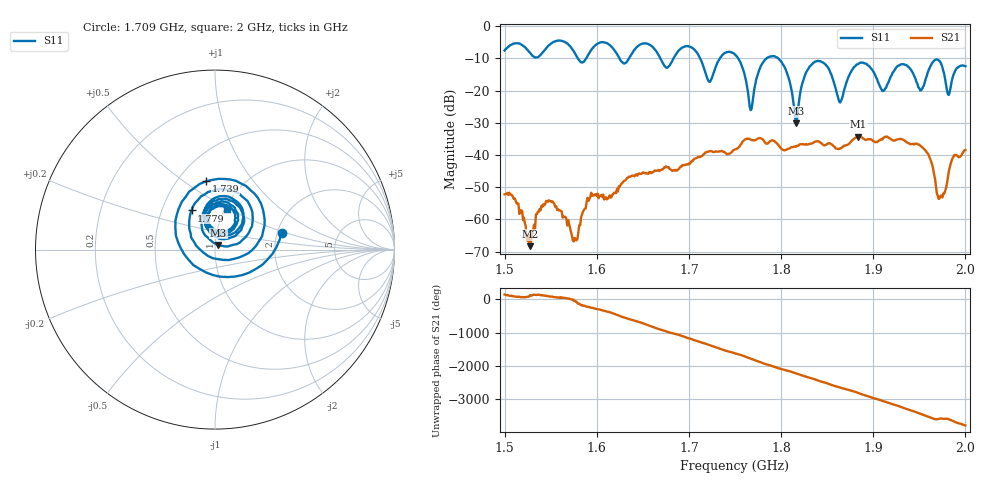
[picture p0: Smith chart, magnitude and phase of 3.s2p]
! NanoVNA-App by SYSJOINT et al v1.1.209 (+OD18)
! Date: 2026-01-21 14:21:20
! Start: 1,5GHz Stop: 2GHz Points: 501
! S-Parameter data: F S11 S21 S12 S22
# Hz S RI R 50
!  Frequency  S11_Real  S11_Imag  S21_Real  S21_Imag  S12_Real  S12_Imag  S22_Real  S22_Imag
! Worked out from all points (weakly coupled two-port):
!   501 points, 1.5 GHz to 2 GHz, reference 50 ohm
!   highest |S21| = -34.26 dB at 1.884 GHz (marker M1); lowest = -68.3 dB at 1.528 GHz (marker M2)
!   lowest |S11| = -30.2 dB at 1.816 GHz (marker M3), VSWR 1.06, Z = 51.8 + j2.62 ohm
!   |S11| at or under -10 dB: 1.712 GHz to 1.734 GHz (21.41 MHz wide, 1.24 % of centre); 1.753 GHz to 1.784 GHz (30.92 MHz wide, 1.75 % of centre); 1.797 GHz to end of sweep (the widest 3 of 6)
!   S12 and S22 are empty: the file has one direction only
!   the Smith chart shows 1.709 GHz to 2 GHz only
!   S11 on the Smith chart (normalised r, x): 1.709 GHz: 2.11, +0.47; 1.739 GHz: 0.68, +0.61; 1.779 GHz: 0.71, +0.33; 2 GHz: 1.02, +0.50
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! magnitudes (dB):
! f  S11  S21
! 1.5 GHz  -7.5  -52.2
! 1.528 GHz  -8.4  -68.3
! 1.547 GHz  -6.2  -54.5
! 1.576 GHz  -8.3  -65.7
! 1.584 GHz  -11.3  -58.5
! 1.667 GHz  -9.0  -44.6
! 1.709 GHz  -8.3  -40.9
! 1.722 GHz  -17.3  -38.9
! 1.739 GHz  -8.3  -39.2
! 1.75 GHz  -8.8  -38.3
! 1.767 GHz  -26.1  -35.2
! 1.779 GHz  -11.9  -35.0
! 1.801 GHz  -11.4  -38.3
! 1.816 GHz  -30.2  -37.4
! 1.834 GHz  -11.7  -36.4
! 1.864 GHz  -23.7  -37.9
! 1.884 GHz  -11.7  -34.3
! 1.917 GHz  -17.1  -34.7
! 1.957 GHz  -16.3  -38.8
! 1.973 GHz  -11.2  -52.6
! 1.982 GHz  -21.4  -45.1
! 2 GHz  -12.4  -38.4
